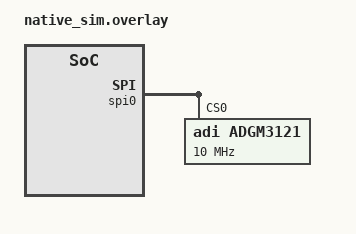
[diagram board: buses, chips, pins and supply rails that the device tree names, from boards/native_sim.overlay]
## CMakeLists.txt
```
# SPDX-License-Identifier: Apache-2.0

cmake_minimum_required(VERSION 3.20.0)

find_package(Zephyr REQUIRED HINTS $ENV{ZEPHYR_BASE})
project(adgm3121_spi_test)

target_sources(app PRIVATE src/main.c)
```

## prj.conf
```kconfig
CONFIG_ZTEST=y
CONFIG_SPI=y
CONFIG_GPIO=y
CONFIG_EMUL=y
CONFIG_ADGM3121=y
```

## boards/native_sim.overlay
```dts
/*
 * Copyright (c) 2026 Analog Devices Inc.
 *
 * SPDX-License-Identifier: Apache-2.0
 */

&spi0 {
	adgm3121: adgm3121@0 {
		compatible = "adi,adgm3121";
		reg = <0>;
		spi-max-frequency = <10000000>;
		status = "okay";
	};
};
```

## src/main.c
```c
/*
 * Copyright (c) 2026 Analog Devices Inc.
 *
 * SPDX-License-Identifier: Apache-2.0
 */

#include <zephyr/device.h>
#include <zephyr/ztest.h>
#include <zephyr/drivers/misc/adgm3121/adgm3121.h>

#define ADGM3121_NODE DT_NODELABEL(adgm3121)

static const struct device *dev = DEVICE_DT_GET(ADGM3121_NODE);

ZTEST(adgm3121_spi, test_device_ready)
{
	zassert_true(device_is_ready(dev), "ADGM3121 device not ready");
}

ZTEST(adgm3121_spi, test_set_get_switch_state)
{
	enum adgm3121_state state;
	int ret;

	ret = adgm3121_set_switch_state(dev, ADGM3121_SW1, ADGM3121_ENABLE);
	zassert_ok(ret, "Failed to enable SW1: %d", ret);

	ret = adgm3121_get_switch_state(dev, ADGM3121_SW1, &state);
	zassert_ok(ret, "Failed to get SW1 state: %d", ret);
	zassert_equal(state, ADGM3121_ENABLE, "SW1 should be enabled");

	ret = adgm3121_set_switch_state(dev, ADGM3121_SW1, ADGM3121_DISABLE);
	zassert_ok(ret, "Failed to disable SW1: %d", ret);

	ret = adgm3121_get_switch_state(dev, ADGM3121_SW1, &state);
	zassert_ok(ret, "Failed to get SW1 state: %d", ret);
	zassert_equal(state, ADGM3121_DISABLE, "SW1 should be disabled");
}

ZTEST(adgm3121_spi, test_set_get_switches_bitmask)
{
	uint8_t mask;
	int ret;

	ret = adgm3121_set_switches(dev, 0x0A);
	zassert_ok(ret, "Failed to set switches: %d", ret);

	ret = adgm3121_get_switches(dev, &mask);
	zassert_ok(ret, "Failed to get switches: %d", ret);
	zassert_equal(mask, 0x0A, "Switch mask should be 0x0A, got 0x%02x", mask);

	ret = adgm3121_set_switches(dev, 0x05);
	zassert_ok(ret, "Failed to set switches: %d", ret);

	ret = adgm3121_get_switches(dev, &mask);
	zassert_ok(ret, "Failed to get switches: %d", ret);
	zassert_equal(mask, 0x05, "Switch mask should be 0x05, got 0x%02x", mask);
}

ZTEST(adgm3121_spi, test_set_switches_mask_truncation)
{
	uint8_t mask;
	int ret;

	ret = adgm3121_set_switches(dev, 0xFF);
	zassert_ok(ret, "Failed to set switches: %d", ret);

	ret = adgm3121_get_switches(dev, &mask);
	zassert_ok(ret, "Failed to get switches: %d", ret);
	zassert_equal(mask, 0x0F,
		      "Upper bits should be masked, got 0x%02x", mask);
}

ZTEST(adgm3121_spi, test_reset_switches)
{
	uint8_t mask;
	int ret;

	ret = adgm3121_set_switches(dev, 0x0F);
	zassert_ok(ret, "Failed to set switches: %d", ret);

	ret = adgm3121_reset_switches(dev);
	zassert_ok(ret, "Failed to reset switches: %d", ret);

	ret = adgm3121_get_switches(dev, &mask);
	zassert_ok(ret, "Failed to get switches: %d", ret);
	zassert_equal(mask, 0x00, "All switches should be off, got 0x%02x",
		      mask);
}

ZTEST(adgm3121_spi, test_all_switches_individually)
{
	enum adgm3121_state state;
	int ret;

	ret = adgm3121_reset_switches(dev);
	zassert_ok(ret);

	for (int i = ADGM3121_SW1; i <= ADGM3121_SW4; i++) {
		ret = adgm3121_set_switch_state(dev, i, ADGM3121_ENABLE);
		zassert_ok(ret, "Failed to enable SW%d: %d", i + 1, ret);

		ret = adgm3121_get_switch_state(dev, i, &state);
		zassert_ok(ret, "Failed to get SW%d state: %d", i + 1, ret);
		zassert_equal(state, ADGM3121_ENABLE,
			      "SW%d should be enabled", i + 1);
	}

	uint8_t mask;

	ret = adgm3121_get_switches(dev, &mask);
	zassert_ok(ret);
	zassert_equal(mask, 0x0F, "All switches should be on, got 0x%02x",
		      mask);
}

ZTEST(adgm3121_spi, test_check_internal_error)
{
	uint8_t error_status;
	int ret;

	ret = adgm3121_check_internal_error(dev, &error_status);
	zassert_ok(ret, "Failed to check internal error: %d", ret);
	zassert_equal(error_status, 0, "Expected no errors, got 0x%02x",
		      error_status);
}

ZTEST(adgm3121_spi, test_invalid_switch)
{
	int ret;

	ret = adgm3121_set_switch_state(dev, 4, ADGM3121_ENABLE);
	zassert_equal(ret, -EINVAL, "Expected -EINVAL for invalid switch");
}

ZTEST(adgm3121_spi, test_null_params)
{
	int ret;

	ret = adgm3121_get_switch_state(dev, ADGM3121_SW1, NULL);
	zassert_equal(ret, -EINVAL, "Expected -EINVAL for NULL state");

	ret = adgm3121_get_switches(dev, NULL);
	zassert_equal(ret, -EINVAL, "Expected -EINVAL for NULL mask");

	ret = adgm3121_check_internal_error(dev, NULL);
	zassert_equal(ret, -EINVAL, "Expected -EINVAL for NULL error_status");
}

static void *adgm3121_spi_setup(void)
{
	zassert_true(device_is_ready(dev), "ADGM3121 device not ready");
	return NULL;
}

static void adgm3121_spi_before(void *fixture)
{
	ARG_UNUSED(fixture);
	adgm3121_reset_switches(dev);
}

ZTEST_SUITE(adgm3121_spi, NULL, adgm3121_spi_setup, adgm3121_spi_before,
	    NULL, NULL);
```
